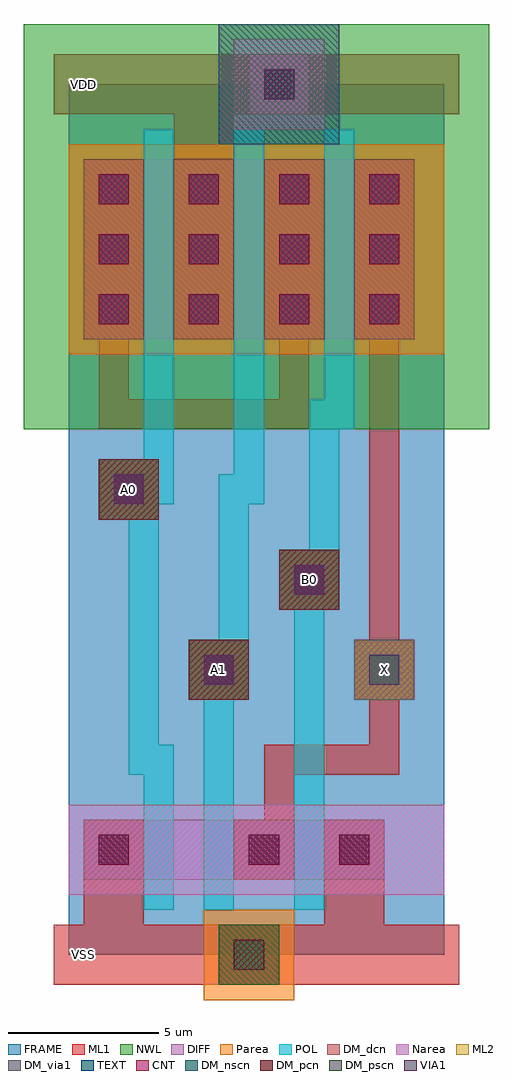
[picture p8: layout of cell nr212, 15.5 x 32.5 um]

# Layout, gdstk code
import gdstk
lib = gdstk.Library(unit=1e-6, precision=1e-09)
def R(c, l, rs):  # rectangles x0, y0, x1, y1
    for r in rs: c.add(gdstk.rectangle(r[:2], r[2:], *l))
NWL = (1, 0)
DIFF = (3, 0)
POL = (5, 0)
CNT = (7, 0)
ML1 = (8, 0)
VIA1 = (9, 0)
ML2 = (10, 0)
TEXT = (13, 0)
FRAME = (14, 0)
Parea = (18, 0)
Narea = (19, 0)
DM_dcn = (101, 0)
DM_pcn = (102, 0)
DM_nscn = (103, 0)
DM_pscn = (104, 0)
DM_via1 = (105, 0)

dcont = lib.new_cell('dcont')
R(dcont, DIFF, [(-1,-1,1,1)])
R(dcont, CNT, [(-0.5,-0.5,0.5,0.5)])
R(dcont, ML1, [(-1,-1,1,1)])
R(dcont, TEXT, [(-0.5,-0.5,0.5,0.5)])
R(dcont, DM_dcn, [(-1,-1,1,1)])
dcont.add(gdstk.Label('dcont', (0,0), layer=13, texttype=0))

psubcont = lib.new_cell('psubcont')
R(psubcont, Parea, [(-1.5,-1.5,1.5,1.5)])
R(psubcont, DM_pscn, [(-1,-1,1,1)])
psubcont.add(gdstk.Reference(dcont, (0,0)))
psubcont.add(gdstk.Label('PScon', (0,0), layer=13, texttype=0))

pcont = lib.new_cell('pcont')
R(pcont, POL, [(-1,-1,1,1)])
R(pcont, CNT, [(-0.5,-0.5,0.5,0.5)])
R(pcont, ML1, [(-1,-1,1,1)])
R(pcont, DM_pcn, [(-1,-1,1,1)])
pcont.add(gdstk.Label('pcont', (0,0), layer=13, texttype=0))

nsubcont = lib.new_cell('nsubcont')
R(nsubcont, NWL, [(-2,-2,2,2)])
R(nsubcont, Narea, [(-1.5,-1.5,1.5,1.5)])
R(nsubcont, DM_nscn, [(-2,-2,2,2)])
nsubcont.add(gdstk.Reference(dcont, (0,0)))
nsubcont.add(gdstk.Label('NScont', (0,0), layer=13, texttype=0))

via = lib.new_cell('Via')
R(via, ML1, [(-1,-1,1,1)])
R(via, VIA1, [(-0.5,-0.5,0.5,0.5)])
R(via, ML2, [(-1,-1,1,1)])
R(via, TEXT, [(-0.5,-0.5,0.5,0.5)])
R(via, DM_via1, [(-1,-1,1,1)])
via.add(gdstk.Label('via', (0,0), layer=13, texttype=0))

nr212 = lib.new_cell('nr212')
R(nr212, NWL, [(-1.5,17.5,14,31)])
R(nr212, DIFF, [(0.5,2.5,8.5,4.5), (8.5,2.5,10.5,4.5), (0.5,20.5,11.5,26.5)])
R(nr212, ML1, [(-0.5,-1,13,1), (4,8.5,6,10.5), (9.5,8.5,11.5,10.5), (7,11.5,9,13.5), (1,14.5,3,16.5), (-0.5,28,13,30)])
R(nr212, ML2, [(4,8.5,6,10.5), (9.5,8.5,11.5,10.5), (7,11.5,9,13.5), (1,14.5,3,16.5)])
R(nr212, FRAME, [(0,0,12.5,29)])
R(nr212, Parea, [(0,20,12.5,27)])
R(nr212, Narea, [(0,2,12.5,5)])
R(nr212, DM_via1, [(4,8.5,6,10.5), (9.5,8.5,11.5,10.5), (7,11.5,9,13.5), (1,14.5,3,16.5)])
nr212.add(gdstk.FlexPath([(9,27),(9,18),(8.5,18),(8.5,12),(8,12),(8,2)], 1, ends="extended", simple_path=True, layer=5, datatype=0))  # POL
nr212.add(gdstk.FlexPath([(6,27),(6,15.5),(5.5,15.5),(5.5,9.5),(5,9.5),(5,2)], 1, ends="extended", simple_path=True, layer=5, datatype=0))  # POL
nr212.add(gdstk.FlexPath([(3,27),(3,15.5),(2.5,15.5),(2.5,6.5),(3,6.5),(3,2)], 1, ends="extended", simple_path=True, layer=5, datatype=0))  # POL
nr212.add(gdstk.FlexPath([(10.5,22.3),(10.5,25.5)], 1.4, ends="extended", simple_path=True, layer=8, datatype=0))  # ML1
nr212.add(gdstk.FlexPath([(9.5,1),(9.5,3.5)], 2, ends="extended", simple_path=True, layer=8, datatype=0))  # ML1
nr212.add(gdstk.FlexPath([(10.5,20.5),(10.5,6.5),(7,6.5),(7,3.5)], 1, ends="extended", simple_path=True, layer=8, datatype=0))  # ML1
nr212.add(gdstk.FlexPath([(4.5,21.5),(4.5,28.5)], 2, ends="extended", simple_path=True, layer=8, datatype=0))  # ML1
nr212.add(gdstk.FlexPath([(1.5,24.5),(1.5,18),(7.5,18),(7.5,24.5)], 1, ends="extended", simple_path=True, layer=8, datatype=0))  # ML1
nr212.add(gdstk.FlexPath([(1.5,22.3),(1.5,25.5)], 1.4, ends="extended", simple_path=True, layer=8, datatype=0))  # ML1
nr212.add(gdstk.FlexPath([(1.5,1),(1.5,3.5)], 2, ends="extended", simple_path=True, layer=8, datatype=0))  # ML1
nr212.add(gdstk.Reference(dcont, (10.5,23.5)))
nr212.add(gdstk.Reference(dcont, (9.5,3.5)))
nr212.add(gdstk.Reference(dcont, (6.5,3.5)))
nr212.add(gdstk.Reference(dcont, (10.5,25.5)))
nr212.add(gdstk.Reference(psubcont, (6,0)))
nr212.add(gdstk.Reference(pcont, (8,12.5)))
nr212.add(gdstk.Reference(dcont, (1.5,25.5)))
nr212.add(gdstk.Reference(dcont, (7.5,21.5)))
nr212.add(gdstk.Reference(dcont, (1.5,21.5)))
nr212.add(gdstk.Reference(dcont, (7.5,23.5)))
nr212.add(gdstk.Reference(nsubcont, (7,29)))
nr212.add(gdstk.Reference(dcont, (4.5,23.5)))
nr212.add(gdstk.Reference(via, (8,12.5)))
nr212.add(gdstk.Reference(dcont, (1.5,3.5)))
nr212.add(gdstk.Reference(pcont, (5,9.5)))
nr212.add(gdstk.Reference(dcont, (10.5,21.5)))
nr212.add(gdstk.Reference(via, (2,15.5)))
nr212.add(gdstk.Reference(via, (10.5,9.5)))
nr212.add(gdstk.Reference(dcont, (7.5,25.5)))
nr212.add(gdstk.Reference(dcont, (4.5,21.5)))
nr212.add(gdstk.Reference(via, (5,9.5)))
nr212.add(gdstk.Reference(pcont, (2,15.5)))
nr212.add(gdstk.Reference(dcont, (1.5,23.5)))
nr212.add(gdstk.Reference(dcont, (4.5,25.5)))
nr212.add(gdstk.Label('VDD', (0.5,29), layer=8, texttype=0))
nr212.add(gdstk.Label('VSS', (0.5,0), layer=8, texttype=0))
nr212.add(gdstk.Label('B0', (8,12.5), layer=10, texttype=0))
nr212.add(gdstk.Label('A1', (5,9.5), layer=10, texttype=0))
nr212.add(gdstk.Label('A0', (2,15.5), layer=10, texttype=0))
nr212.add(gdstk.Label('X', (10.5,9.5), layer=10, texttype=0))
nr212.add(gdstk.Label('via', (10.5,9.5), layer=13, texttype=0))
nr212.add(gdstk.Label('via', (8,12.5), layer=13, texttype=0))
nr212.add(gdstk.Label('via', (2,15.5), layer=13, texttype=0))
nr212.add(gdstk.Label('via', (5,9.5), layer=13, texttype=0))

lib.write_gds('nr212.gds')
